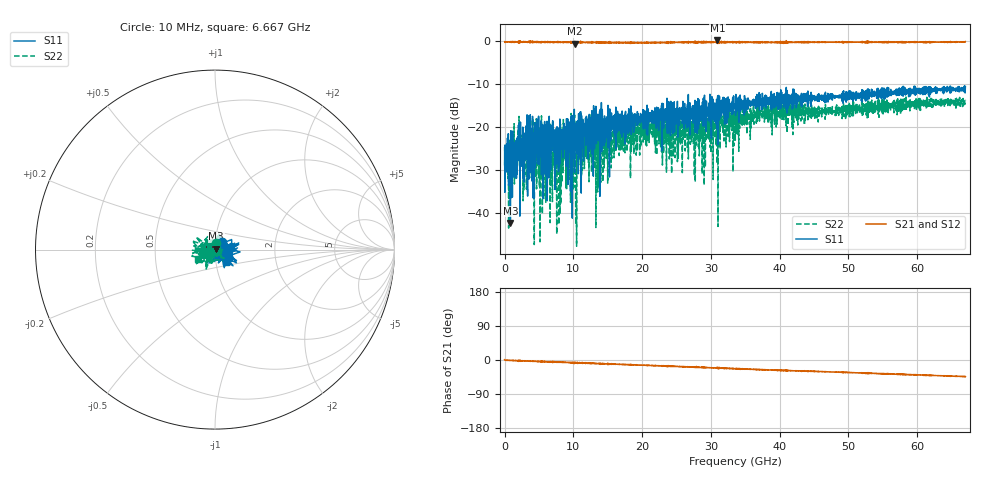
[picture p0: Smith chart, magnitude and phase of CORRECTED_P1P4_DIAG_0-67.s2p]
! Generated by Phase II Calibration
# Hz S RI R 50
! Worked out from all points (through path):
!   1601 points, 10 MHz to 67 GHz, reference 50 ohm
!   highest |S21| = 0.23 dB at 30.95 GHz (marker M1); lowest = -0.5 dB at 10.18 GHz (marker M2)
!   group delay of S21, straight-line fit = 1.8 ps
!   lowest |S11| = -42.3 dB at 847.4 MHz (marker M3), VSWR 1.02, Z = 50.6 + j0.482 ohm
!   |S11| at or under -10 dB: start of sweep to end of sweep
!   |S22| runs from -47.6 to -12.9 dB; largest |S21 - S12| = 0.0038
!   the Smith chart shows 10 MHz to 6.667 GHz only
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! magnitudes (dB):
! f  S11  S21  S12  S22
! 10 MHz  -24.7  0.0  0.0  -28.8
! 847.4 MHz  -42.3  -0.1  -0.1  -30.3
! 2.02 GHz  -19.5  0.0  0.0  -21.6
! 2.857 GHz  -32.7  -0.2  -0.2  -24.6
! 3.569 GHz  -17.3  0.1  0.1  -23.5
! 4.239 GHz  -21.5  -0.1  -0.1  -26.7
! 4.699 GHz  -18.0  0.0  0.0  -30.7
! 5.327 GHz  -23.2  0.0  0.0  -31.8
! 5.537 GHz  -19.3  -0.2  -0.2  -23.6
! 6.29 GHz  -22.8  0.0  0.0  -29.1
! 8.174 GHz  -21.2  -0.1  -0.1  -37.9
! 8.551 GHz  -21.0  -0.3  -0.3  -18.2
! 9.263 GHz  -21.7  -0.3  -0.3  -22.9
! 9.975 GHz  -19.9  -0.2  -0.2  -21.9
! 10.18 GHz  -30.5  -0.5  -0.5  -17.1
! 11.19 GHz  -17.2  -0.1  -0.1  -31.3
! 22.37 GHz  -15.5  -0.2  -0.2  -22.0
! 30.95 GHz  -13.4  0.2  0.2  -13.8
! 33.51 GHz  -14.6  -0.2  -0.2  -16.3
! 44.68 GHz  -13.2  -0.2  -0.2  -17.5
! 55.86 GHz  -12.7  -0.3  -0.3  -14.5
! 67 GHz  -10.5  0.0  -0.1  -13.6
